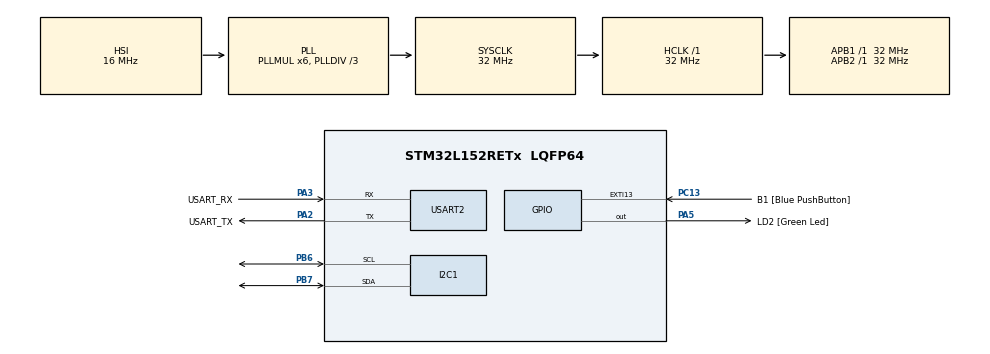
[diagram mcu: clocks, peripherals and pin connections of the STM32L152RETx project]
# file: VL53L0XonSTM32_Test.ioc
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Mcu.Family=STM32L1
Mcu.Name=STM32L152RETx
Mcu.Package=LQFP64
NVIC.PriorityGroup=NVIC_PRIORITYGROUP_0
PA13.GPIO_Label=TMS
PA13.Mode=Serial_Wire
PA13.Signal=SYS_JTMS-SWDIO
PA14.GPIO_Label=TCK
PA14.Mode=Serial_Wire
PA14.Signal=SYS_JTCK-SWCLK
PA2.GPIO_Label=USART_TX
PA2.Mode=Asynchronous
PA2.Signal=USART2_TX
PA3.GPIO_Label=USART_RX
PA3.Mode=Asynchronous
PA3.Signal=USART2_RX
PA5.GPIO_Label=LD2 [Green Led]
PA5.Signal=GPIO_Output
PB3.GPIO_Label=SWO
PB3.Signal=SYS_JTDO-TRACESWO
PB6.Mode=I2C
PB6.Signal=I2C1_SCL
PB7.Mode=I2C
PB7.Signal=I2C1_SDA
PC13-WKUP2.GPIO_Label=B1 [Blue PushButton]
PC13-WKUP2.Signal=GPXTI13
PC14-OSC32_IN.Mode=LSE-External-Oscillator
PC14-OSC32_IN.Signal=RCC_OSC32_IN
PC15-OSC32_OUT.Mode=LSE-External-Oscillator
PC15-OSC32_OUT.Signal=RCC_OSC32_OUT
PH0-OSC_IN.Mode=HSE-External-Clock-Source
PH0-OSC_IN.Signal=RCC_OSC_IN
PH1-OSC_OUT.Signal=RCC_OSC_OUT
ProjectManager.HeapSize=0x200
ProjectManager.StackSize=0x400
ProjectManager.TargetToolchain=STM32CubeIDE
RCC.48MHZClocksFreq_Value=48000000
RCC.AHBFreq_Value=32000000
RCC.APB1Freq_Value=32000000
RCC.APB1TimFreq_Value=32000000
RCC.APB2Freq_Value=32000000
RCC.APB2TimFreq_Value=32000000
RCC.HCLKFreq_Value=32000000
RCC.HSE_VALUE=8000000
RCC.HSI_VALUE=16000000
RCC.MSI_VALUE=2097000
RCC.PLLDIV=RCC_PLL_DIV3
RCC.PLLMUL=RCC_PLL_MUL6
RCC.RTCClockSelectionVirtual=RCC_RTCCLKSOURCE_LSE
RCC.SYSCLKFreq_VALUE=32000000
RCC.SYSCLKSource=RCC_SYSCLKSOURCE_PLLCLK
RCC.USBOutput=48000000
RCC.VCOOutputFreq_Value=96000000
USART2.VirtualMode=VM_ASYNC
board=NUCLEO-L152RE

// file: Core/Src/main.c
/* USER CODE BEGIN Header */
/**
  ******************************************************************************
  * @file           : main.c
  * @brief          : Main program body
  ******************************************************************************
  * @attention
  *
  * <h2><center>&copy; Copyright (c) 2020 STMicroelectronics.
  * All rights reserved.</center></h2>
  *
  * This software component is licensed by ST under BSD 3-Clause license,
  * the "License"; You may not use this file except in compliance with the
  * License. You may obtain a copy of the License at:
  *                        opensource.org/licenses/BSD-3-Clause
  *
  ******************************************************************************
  */
/* USER CODE END Header */

#include "main.h"
#include "vl53l0x_api.h"

I2C_HandleTypeDef hi2c1;

UART_HandleTypeDef huart2;

/* USER CODE BEGIN Includes */

int LeakyFactorFix8 = (int)( 0.6 *256);

/* USER CODE END Includes */

/* USER CODE BEGIN PTD */

typedef enum {
	LONG_RANGE = 0,
	HIGH_SPEED = 1,
	HIGH_ACCURACY = 2,
} RangingConfig_e;

VL53L0X_RangingMeasurementData_t RangingMeasurementData;

VL53L0X_Dev_t VL53L0XDevs = { .Id=0, .DevLetter='i', .I2cHandle=&hi2c1, .I2cDevAddr=0x52 };

int InitSensors()
{
	int status;
	uint16_t Id = 1;
	VL53L0X_Dev_t *pDev;
	pDev = &VL53L0XDevs;
	pDev->I2cDevAddr = 0x52;
	pDev->Present = 0;
	HAL_Delay(2);

	printf("InitSensor...\n");

	if(status == VL53L0X_ERROR_NONE)
	{
		status = VL53L0X_WrByte(pDev, 0x88, 0x00);
	}
	status = VL53L0X_RdWord(pDev, VL53L0X_REG_IDENTIFICATION_MODEL_ID, &Id);
	if(status)
	{
		printf("Read id fail\n");
	}
	if (Id == 0xEEAA)
	{
		printf("Sensor found...\n");
	}

	status = VL53L0X_DataInit(pDev);
	if (status == 0)
	{
		pDev->Present = 1;
	}
	else
	{
		printf("VL53L0X_DataInit fail...\n");
	}

}

void SetupSingleShot (RangingConfig_e rangingConfig)
{
	int status;
	uint8_t VhvSettings;
	uint8_t PhaseCal;
	uint32_t refSpadCount;
	uint8_t isApertureSpads;
	FixPoint1616_t signalLimit = (FixPoint1616_t)(0.25*65536);
	FixPoint1616_t sigmaLimit = (FixPoint1616_t)(18*65536);
	uint32_t timingBudget = 33000;
	uint8_t preRangeVcselPeriod = 14;
	uint8_t finalRangeVcselPeriod = 10;

	if (VL53L0XDevs.Present)
	{
		status=VL53L0X_StaticInit(&VL53L0XDevs);
		if(status)
		{
			printf("VL53L0X_StaticInit failed...\n");
		}
		status = VL53L0X_PerformRefCalibration(&VL53L0XDevs, &VhvSettings, &PhaseCal);
		if(status)
		{
			printf("PerformCalib failed...\n");
		}
		status = VL53L0X_PerformRefSpadManagement(&VL53L0XDevs, &refSpadCount , &isApertureSpads);
		if (status)
		{
			printf("RefSpadManagement failes...\n");
		}
		status = VL53L0X_SetDeviceMode(&VL53L0XDevs, VL53L0X_DEVICEMODE_SINGLE_RANGING);
		if (status)
		{
			printf("SetDeviceMode failed...\n");
		}
		status = VL53L0X_SetLimitCheckEnable(&VL53L0XDevs, VL53L0X_CHECKENABLE_SIGMA_FINAL_RANGE, 1);
		if (status)
		{
			printf("SetLimitCheckEnable failed 1...\n");
		}
		status = VL53L0X_SetLimitCheckEnable(&VL53L0XDevs, VL53L0X_CHECKENABLE_SIGNAL_RATE_FINAL_RANGE, 1);
		if (status)
		{
			printf("SetLimitCheckEnable failed 2...\n");
		}
        switch(rangingConfig) {
        case LONG_RANGE:
        	signalLimit = (FixPoint1616_t)(0.1*65536);
        	sigmaLimit = (FixPoint1616_t)(60*65536);
        	timingBudget = 33000;
        	preRangeVcselPeriod = 18;
        	finalRangeVcselPeriod = 14;
        	break;
        case HIGH_ACCURACY:
			signalLimit = (FixPoint1616_t)(0.25*65536);
			sigmaLimit = (FixPoint1616_t)(18*65536);
			timingBudget = 200000;
			preRangeVcselPeriod = 14;
			finalRangeVcselPeriod = 10;
			break;
        case HIGH_SPEED:
			signalLimit = (FixPoint1616_t)(0.25*65536);
			sigmaLimit = (FixPoint1616_t)(32*65536);
			timingBudget = 20000;
			preRangeVcselPeriod = 14;
			finalRangeVcselPeriod = 10;
			break;
        default:
        	printf("Not Supported");
        }

        status = VL53L0X_SetLimitCheckValue(&VL53L0XDevs,  VL53L0X_CHECKENABLE_SIGNAL_RATE_FINAL_RANGE, signalLimit);
		if( status ){
		   printf("VL53L0X_SetLimitCheckValue failed\n");
		}

		status = VL53L0X_SetLimitCheckValue(&VL53L0XDevs,  VL53L0X_CHECKENABLE_SIGMA_FINAL_RANGE, sigmaLimit);
		if( status ){
		   printf("VL53L0X_SetLimitCheckValue failed\n");
		}

        status = VL53L0X_SetMeasurementTimingBudgetMicroSeconds(&VL53L0XDevs,  timingBudget);
        if( status ){
           printf("VL53L0X_SetMeasurementTimingBudgetMicroSeconds failed\n");
        }

        status = VL53L0X_SetVcselPulsePeriod(&VL53L0XDevs,  VL53L0X_VCSEL_PERIOD_PRE_RANGE, preRangeVcselPeriod);
		if( status ){
		   printf("VL53L0X_SetVcselPulsePeriod failed\n");
		}

        status = VL53L0X_SetVcselPulsePeriod(&VL53L0XDevs,  VL53L0X_VCSEL_PERIOD_FINAL_RANGE, finalRangeVcselPeriod);
		if( status ){
		   printf("VL53L0X_SetVcselPulsePeriod failed\n");
		}

		status = VL53L0X_PerformRefCalibration(&VL53L0XDevs, &VhvSettings, &PhaseCal);
		if( status ){
		   printf("VL53L0X_PerformRefCalibration failed\n");
		}

        VL53L0XDevs.LeakyFirst=1;
	}
}

void Sensor_SetNewRange(VL53L0X_Dev_t *pDev, VL53L0X_RangingMeasurementData_t *pRange)
{
	if( pRange->RangeStatus == 0)
	{
		if (pDev->LeakyFirst)
		{
			pDev->LeakyFirst = 0;
			pDev->LeakyRange = pRange->RangeMilliMeter;
		}
		else
		{
			pDev->LeakyRange = (pDev->LeakyRange*LeakyFactorFix8 + (256 - LeakyFactorFix8)*pRange->RangeMilliMeter)>>8;
		}

	}
	else
	{
		pDev->LeakyFirst =1;
	}
}

int RangeDemo(int UseSensorsMaask, RangingConfig_e rangingConfig)
{
	int status;
	SetupSingleShot(rangingConfig);

	while(1)
	{

		status = VL53L0X_PerformSingleRangingMeasurement(&VL53L0XDevs, &RangingMeasurementData);
		if (status)
		{
			printf("Could not Measure...\n");
		}
		printf("%d,%d \n",RangingMeasurementData.RangeStatus, RangingMeasurementData.RangeMilliMeter);
		Sensor_SetNewRange(&VL53L0XDevs, &RangingMeasurementData);
	}

}

/* USER CODE END PTD */

void SystemClock_Config(void);
static void MX_GPIO_Init(void);
static void MX_USART2_UART_Init(void);
static void MX_I2C1_Init(void);

/* USER CODE BEGIN PFP */

int _write(int file, char *ptr, int len) {
  /* Implement your write code here, this is used by puts and printf for example */
  for (int i = 0; i < len; i++)
    ITM_SendChar((*ptr++));
  return len;
}

/* USER CODE END PFP */

int main(void)
{
  /* USER CODE BEGIN 1 */
RangingConfig_e RangingConfig = LONG_RANGE;
int UseSensorMask = 1 << 1;

  /* USER CODE END 1 */

  /* MCU Configuration--------------------------------------------------------*/

  /* Reset of all peripherals, Initializes the Flash interface and the Systick. */
  HAL_Init();

  /* Configure the system clock */
  SystemClock_Config();

  /* Initialize all configured peripherals */
  MX_GPIO_Init();
  MX_USART2_UART_Init();
  MX_I2C1_Init();
  printf("Welcome :)");
  InitSensors();
  HAL_Delay(500);
  printf("Succes");

  VL53L0X_trace_config(NULL, TRACE_MODULE_NONE, TRACE_LEVEL_NONE, TRACE_FUNCTION_NONE);
  /* USER CODE BEGIN 2 */

  RangeDemo(UseSensorMask, RangingConfig);
  /* USER CODE END 2 */

  /* Infinite loop */
  while (1)
  {

  }
}

void SystemClock_Config(void)
{
  RCC_OscInitTypeDef RCC_OscInitStruct = {0};
  RCC_ClkInitTypeDef RCC_ClkInitStruct = {0};

  /** Configure the main internal regulator output voltage
  */
  __HAL_PWR_VOLTAGESCALING_CONFIG(PWR_REGULATOR_VOLTAGE_SCALE1);
  /** Initializes the CPU, AHB and APB busses clocks
  */
  RCC_OscInitStruct.OscillatorType = RCC_OSCILLATORTYPE_HSI;
  RCC_OscInitStruct.HSIState = RCC_HSI_ON;
  RCC_OscInitStruct.HSICalibrationValue = RCC_HSICALIBRATION_DEFAULT;
  RCC_OscInitStruct.PLL.PLLState = RCC_PLL_ON;
  RCC_OscInitStruct.PLL.PLLSource = RCC_PLLSOURCE_HSI;
  RCC_OscInitStruct.PLL.PLLMUL = RCC_PLL_MUL6;
  RCC_OscInitStruct.PLL.PLLDIV = RCC_PLL_DIV3;
  if (HAL_RCC_OscConfig(&RCC_OscInitStruct) != HAL_OK)
  {
    Error_Handler();
  }
  /** Initializes the CPU, AHB and APB busses clocks
  */
  RCC_ClkInitStruct.ClockType = RCC_CLOCKTYPE_HCLK|RCC_CLOCKTYPE_SYSCLK
                              |RCC_CLOCKTYPE_PCLK1|RCC_CLOCKTYPE_PCLK2;
  RCC_ClkInitStruct.SYSCLKSource = RCC_SYSCLKSOURCE_PLLCLK;
  RCC_ClkInitStruct.AHBCLKDivider = RCC_SYSCLK_DIV1;
  RCC_ClkInitStruct.APB1CLKDivider = RCC_HCLK_DIV1;
  RCC_ClkInitStruct.APB2CLKDivider = RCC_HCLK_DIV1;

  if (HAL_RCC_ClockConfig(&RCC_ClkInitStruct, FLASH_LATENCY_1) != HAL_OK)
  {
    Error_Handler();
  }
}

static void MX_I2C1_Init(void)
{

  hi2c1.Instance = I2C1;
  hi2c1.Init.ClockSpeed = 100000;
  hi2c1.Init.DutyCycle = I2C_DUTYCYCLE_2;
  hi2c1.Init.OwnAddress1 = 0;
  hi2c1.Init.AddressingMode = I2C_ADDRESSINGMODE_7BIT;
  hi2c1.Init.DualAddressMode = I2C_DUALADDRESS_DISABLE;
  hi2c1.Init.OwnAddress2 = 0;
  hi2c1.Init.GeneralCallMode = I2C_GENERALCALL_DISABLE;
  hi2c1.Init.NoStretchMode = I2C_NOSTRETCH_DISABLE;
  if (HAL_I2C_Init(&hi2c1) != HAL_OK)
  {
    Error_Handler();
  }

}

static void MX_USART2_UART_Init(void)
{

  huart2.Instance = USART2;
  huart2.Init.BaudRate = 115200;
  huart2.Init.WordLength = UART_WORDLENGTH_8B;
  huart2.Init.StopBits = UART_STOPBITS_1;
  huart2.Init.Parity = UART_PARITY_NONE;
  huart2.Init.Mode = UART_MODE_TX_RX;
  huart2.Init.HwFlowCtl = UART_HWCONTROL_NONE;
  huart2.Init.OverSampling = UART_OVERSAMPLING_16;
  if (HAL_UART_Init(&huart2) != HAL_OK)
  {
    Error_Handler();
  }

}

static void MX_GPIO_Init(void)
{
  GPIO_InitTypeDef GPIO_InitStruct = {0};

  /* GPIO Ports Clock Enable */
  __HAL_RCC_GPIOC_CLK_ENABLE();
  __HAL_RCC_GPIOH_CLK_ENABLE();
  __HAL_RCC_GPIOA_CLK_ENABLE();
  __HAL_RCC_GPIOB_CLK_ENABLE();

  /*Configure GPIO pin Output Level */
  HAL_GPIO_WritePin(LD2_GPIO_Port, LD2_Pin, GPIO_PIN_RESET);

  /*Configure GPIO pin : B1_Pin */
  GPIO_InitStruct.Pin = B1_Pin;
  GPIO_InitStruct.Mode = GPIO_MODE_IT_RISING;
  GPIO_InitStruct.Pull = GPIO_NOPULL;
  HAL_GPIO_Init(B1_GPIO_Port, &GPIO_InitStruct);

  /*Configure GPIO pin : LD2_Pin */
  GPIO_InitStruct.Pin = LD2_Pin;
  GPIO_InitStruct.Mode = GPIO_MODE_OUTPUT_PP;
  GPIO_InitStruct.Pull = GPIO_NOPULL;
  GPIO_InitStruct.Speed = GPIO_SPEED_FREQ_LOW;
  HAL_GPIO_Init(LD2_GPIO_Port, &GPIO_InitStruct);

}

/* USER CODE BEGIN 4 */

void ITM_SendString(char *ptr)
{
	while (*ptr)
	{
		ITM_SendChar(*ptr);
		ptr++;
	}
}

/* USER CODE END 4 */

void Error_Handler(void)
{
}

/************************ (C) COPYRIGHT STMicroelectronics *****END OF FILE****/
